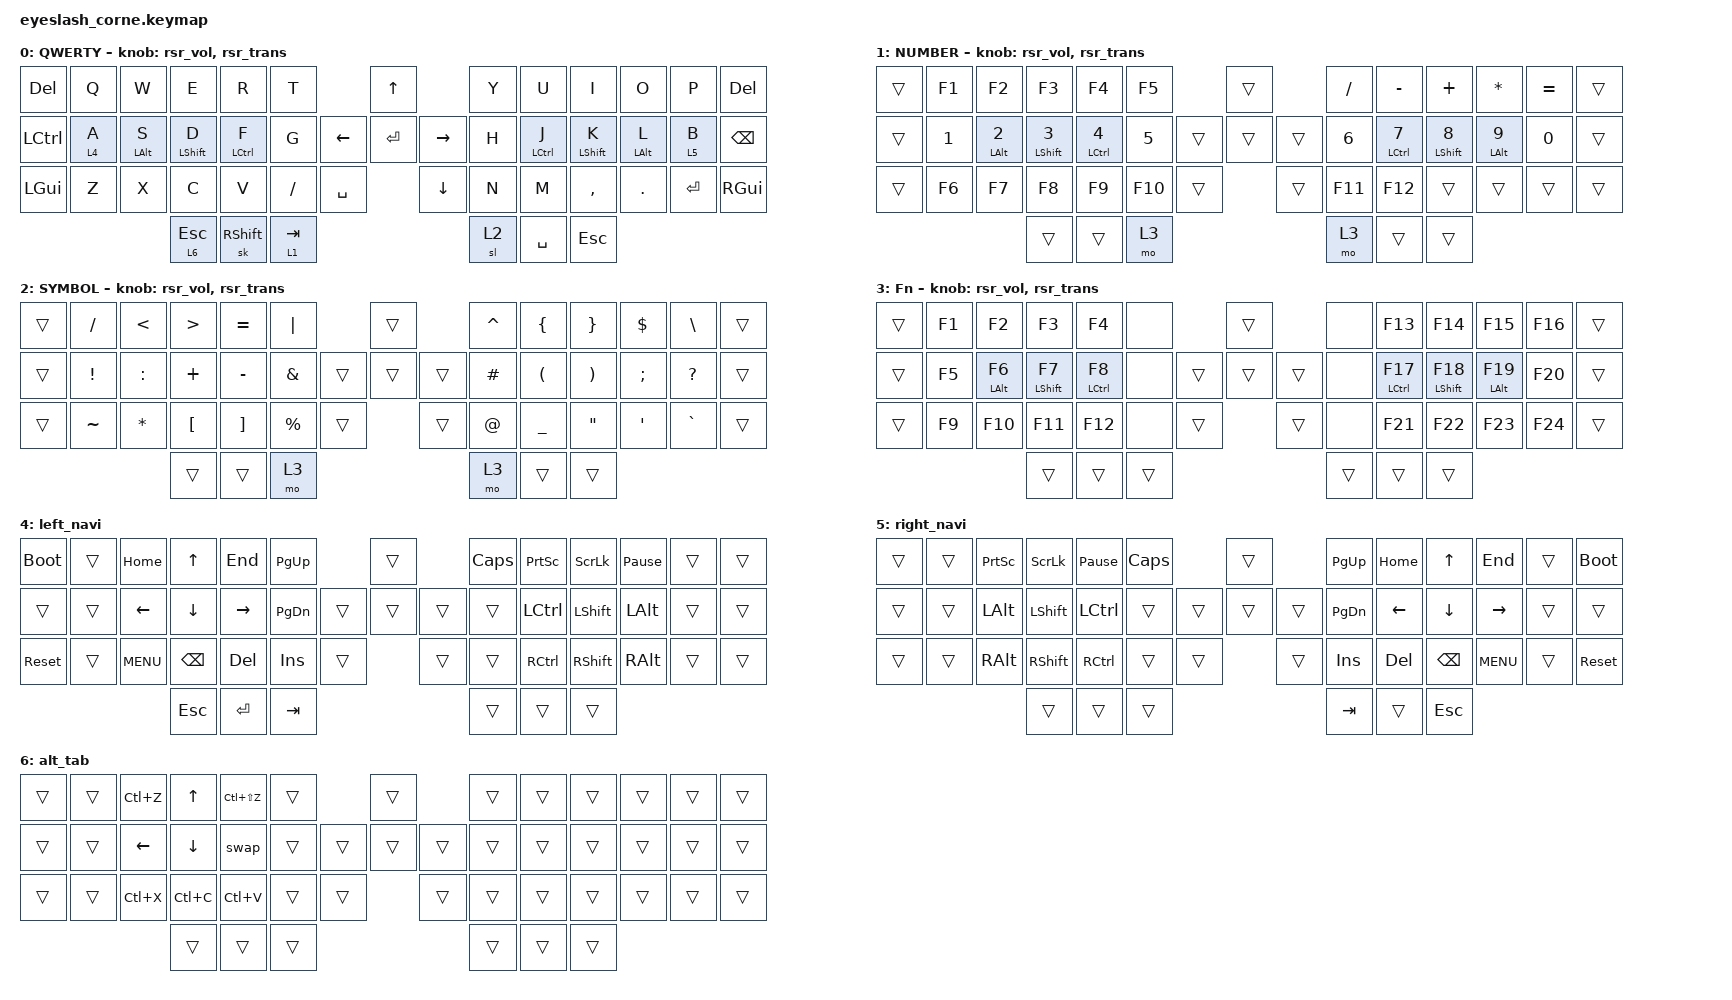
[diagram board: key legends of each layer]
#define ZMK_POINTING_DEFAULT_MOVE_VAL 1200  // 600
#define ZMK_POINTING_DEFAULT_SCRL_VAL 25   // 10

#include <input/processors.dtsi>
#include <zephyr/dt-bindings/input/input-event-codes.h>
#include <behaviors/runtime-sensor-rotate.dtsi>
#include <behaviors.dtsi>
#include <dt-bindings/zmk/keys.h>
#include <dt-bindings/zmk/pointing.h>
#include <dt-bindings/zmk/rgb.h>

&mmv_input_listener { input-processors = <&zip_xy_scaler 2 1>; };

&msc_input_listener { input-processors = <&zip_scroll_scaler 2 1>; };

&msc {
    acceleration-exponent = <1>;      // 0
    time-to-max-speed-ms = <100>;       // 300
    delay-ms = <0>;                   // 0
};

&mmv {
    time-to-max-speed-ms = <500>;
    acceleration-exponent = <1>;
    trigger-period-ms = <16>;
};

&lt { flavor = "hold-preferred"; };

&sk { quick-release; };

/ {
    behaviors {
        td0: td0 {
            compatible = "zmk,behavior-tap-dance";
            display-name = "Shift/Caps Lock Tap Dance";
            #binding-cells = <0>;
            bindings = <&kp LEFT_SHIFT>, <&kp CAPS>;
        };

        rsr_vol: rsr_vol {
            compatible = "zmk,behavior-runtime-sensor-rotate";
            #sensor-binding-cells = <0>;
            tap-ms = <5>;
            cw-binding = <&kp C_VOL_UP>;
            ccw-binding = <&kp C_VOL_DN>;
        };

        rsr_trans: rsr_trans {
            compatible = "zmk,behavior-runtime-sensor-rotate";
            #sensor-binding-cells = <0>;
            tap-ms = <0>;
        };

        swap: swapper {
            compatible = "zmk,behavior-tri-state";
            #binding-cells = <0>;
            bindings = <&kt LALT>, <&kp TAB>, <&kt LALT>;

            ignored-key-positions = <3 15 16>;
        };

        HRM: HRM {
            compatible = "zmk,behavior-hold-tap";
            label = "HRM";
            bindings = <&kp>, <&kp>;

            #binding-cells = <2>;
            tapping-term-ms = <180>;
            quick-tap-ms = <175>;
            require-prior-idle-ms = <150>;
            flavor = "balanced";
        };

        HRL: HRL {
            compatible = "zmk,behavior-hold-tap";
            label = "HRL";
            bindings = <&mo>, <&kp>;

            #binding-cells = <2>;
            tapping-term-ms = <280>;
            quick-tap-ms = <150>;
            require-prior-idle-ms = <80>;
            flavor = "balanced";
        };
    };

    rgb_encoder: rgb_encoder {
        compatible = "zmk,behavior-sensor-rotate";
        #sensor-binding-cells = <0>;
        bindings = <&rgb_ug RGB_BRI>, <&rgb_ug RGB_BRD>;
    };

    scroll_encoder: scroll_encoder {
        compatible = "zmk,behavior-sensor-rotate";
        #sensor-binding-cells = <0>;
        bindings = <&msc SCRL_DOWN>, <&msc SCRL_UP>;

        tap-ms = <100>;
    };

    combos {
        compatible = "zmk,combos";

        ctrl+v {
            bindings = <&kp LC(V)>;
            key-positions = <17 32>;
            layers = <0>;
        };

        hangul {
            bindings = <&kp RALT>;
            key-positions = <24 25>;
            layers = <0>;
        };

        catchType {
            bindings = <&kp LC(LG(F7))>;
            key-positions = <43 46>;
        };
    };

    keymap {
        compatible = "zmk,keymap";

        default_layer {
            display-name = "QWERTY";
            bindings = <
&kp DELETE  &kp Q     &kp W        &kp E          &kp R         &kp T                             &kp UP                &kp Y  &kp U         &kp I          &kp O        &kp P      &kp DELETE
&kp LCTRL   &HRL 4 A  &HRM LALT S  &HRM LSHIFT D  &HRM LCTRL F  &kp G                   &kp LEFT  &kp ENTER  &kp RIGHT  &kp H  &HRM LCTRL J  &HRM LSHIFT K  &HRM LALT L  &HRL 5 B   &kp BACKSPACE
&kp LGUI    &kp Z     &kp X        &kp C          &kp V         &kp SLASH  &kp SPACE              &kp DOWN              &kp N  &kp M         &kp COMMA      &kp DOT      &kp ENTER  &kp RGUI
                                   &lt 6 ESCAPE   &sk RSHIFT    &lt 1 TAB                                               &sl 2  &kp SPACE     &kp ESCAPE
            >;

            sensor-bindings = <&rsr_vol &rsr_trans>;
        };

        lower_layer {
            display-name = "NUMBER";
            bindings = <
&trans  &kp F1  &kp F2              &kp F3                &kp F4               &kp F5                     &trans          &kp SLASH  &kp MINUS            &kp PLUS              &kp ASTERISK        &kp EQUAL  &trans
&trans  &kp N1  &HRM LALT NUMBER_2  &HRM LSHIFT NUMBER_3  &HRM LCTRL NUMBER_4  &kp N5             &trans  &trans  &trans  &kp N6     &HRM LCTRL NUMBER_7  &HRM LSHIFT NUMBER_8  &HRM LALT NUMBER_9  &kp N0     &trans
&trans  &kp F6  &kp F7              &kp F8                &kp F9               &kp F10  &trans            &trans          &kp F11    &kp F12              &trans                &trans              &trans     &trans
                                    &trans                &trans               &mo 3                                      &mo 3      &trans               &trans
            >;

            sensor-bindings = <&rsr_vol &rsr_trans>;
        };

        raise_layer {
            display-name = "SYMBOL";
            bindings = <
&trans  &kp SLASH        &kp LESS_THAN  &kp GREATER_THAN  &kp EQUAL          &kp PIPE                         &trans          &kp CARET    &kp LEFT_BRACE        &kp RIGHT_BRACE        &kp DOLLAR        &kp BACKSLASH  &trans
&trans  &kp EXCLAMATION  &kp COLON      &kp PLUS          &kp MINUS          &kp AMPERSAND            &trans  &trans  &trans  &kp HASH     &kp LEFT_PARENTHESIS  &kp RIGHT_PARENTHESIS  &kp SEMICOLON     &kp QUESTION   &trans
&trans  &kp TILDE        &kp ASTERISK   &kp LEFT_BRACKET  &kp RIGHT_BRACKET  &kp PERCENT    &trans            &trans          &kp AT_SIGN  &kp UNDERSCORE        &kp DOUBLE_QUOTES      &kp SINGLE_QUOTE  &kp GRAVE      &trans
                                        &trans            &trans             &mo 3                                            &mo 3        &trans                &trans
            >;

            sensor-bindings = <&rsr_vol &rsr_trans>;
        };

        layer_3 {
            display-name = "Fn";
            bindings = <
&trans  &kp F1  &kp F2        &kp F3          &kp F4         &none                     &trans          &none   &kp F13         &kp F14          &kp F15        &kp F16  &trans
&trans  &kp F5  &HRM LALT F6  &HRM LSHIFT F7  &HRM LCTRL F8  &none             &trans  &trans  &trans  &none   &HRM LCTRL F17  &HRM LSHIFT F18  &HRM LALT F19  &kp F20  &trans
&trans  &kp F9  &kp F10       &kp F11         &kp F12        &none   &trans            &trans          &none   &kp F21         &kp F22          &kp F23        &kp F24  &trans
                              &trans          &trans         &trans                                    &trans  &trans          &trans
            >;

            sensor-bindings = <&rsr_vol &rsr_trans>;
        };

        left_navi {
            bindings = <
&bootloader  &trans  &kp HOME        &kp UP_ARROW    &kp END          &kp PAGE_UP                      &trans          &kp CAPSLOCK  &kp PRINTSCREEN  &kp SCROLLLOCK  &kp PAUSE_BREAK  &trans  &trans
&trans       &trans  &kp LEFT_ARROW  &kp DOWN_ARROW  &kp RIGHT_ARROW  &kp PAGE_DOWN            &trans  &trans  &trans  &trans        &kp LCTRL        &kp LSHIFT      &kp LALT         &trans  &trans
&sys_reset   &trans  &kp K_MENU      &kp BACKSPACE   &kp DELETE       &kp INSERT     &trans            &trans          &trans        &kp RCTRL        &kp RSHIFT      &kp RALT         &trans  &trans
                                     &kp ESCAPE      &kp ENTER        &kp TAB                                          &trans        &trans           &trans
            >;
        };

        right_navi {
            bindings = <
&trans  &trans  &kp PRINTSCREEN  &kp SCROLLLOCK  &kp PAUSE_BREAK  &kp CAPSLOCK                    &trans          &kp PAGE_UP    &kp HOME        &kp UP_ARROW    &kp END          &trans  &bootloader
&trans  &trans  &kp LALT         &kp LSHIFT      &kp LCTRL        &trans                  &trans  &trans  &trans  &kp PAGE_DOWN  &kp LEFT_ARROW  &kp DOWN_ARROW  &kp RIGHT_ARROW  &trans  &trans
&trans  &trans  &kp RALT         &kp RSHIFT      &kp RCTRL        &trans        &trans            &trans          &kp INSERT     &kp DELETE      &kp BACKSPACE   &kp K_MENU       &trans  &sys_reset
                                 &trans          &trans           &trans                                          &kp TAB        &trans          &kp ESCAPE
            >;
        };

        alt_tab {
            bindings = <
&trans  &trans  &kp LC(Z)       &kp UP_ARROW    &kp LC(LS(Z))  &trans                    &trans          &trans  &trans  &trans  &trans  &trans  &trans
&trans  &trans  &kp LEFT_ARROW  &kp DOWN_ARROW  &swap          &trans            &trans  &trans  &trans  &trans  &trans  &trans  &trans  &trans  &trans
&trans  &trans  &kp LC(X)       &kp LC(C)       &kp LC(V)      &trans  &trans            &trans          &trans  &trans  &trans  &trans  &trans  &trans
                                &trans          &trans         &trans                                    &trans  &trans  &trans
            >;
        };
    };
};
